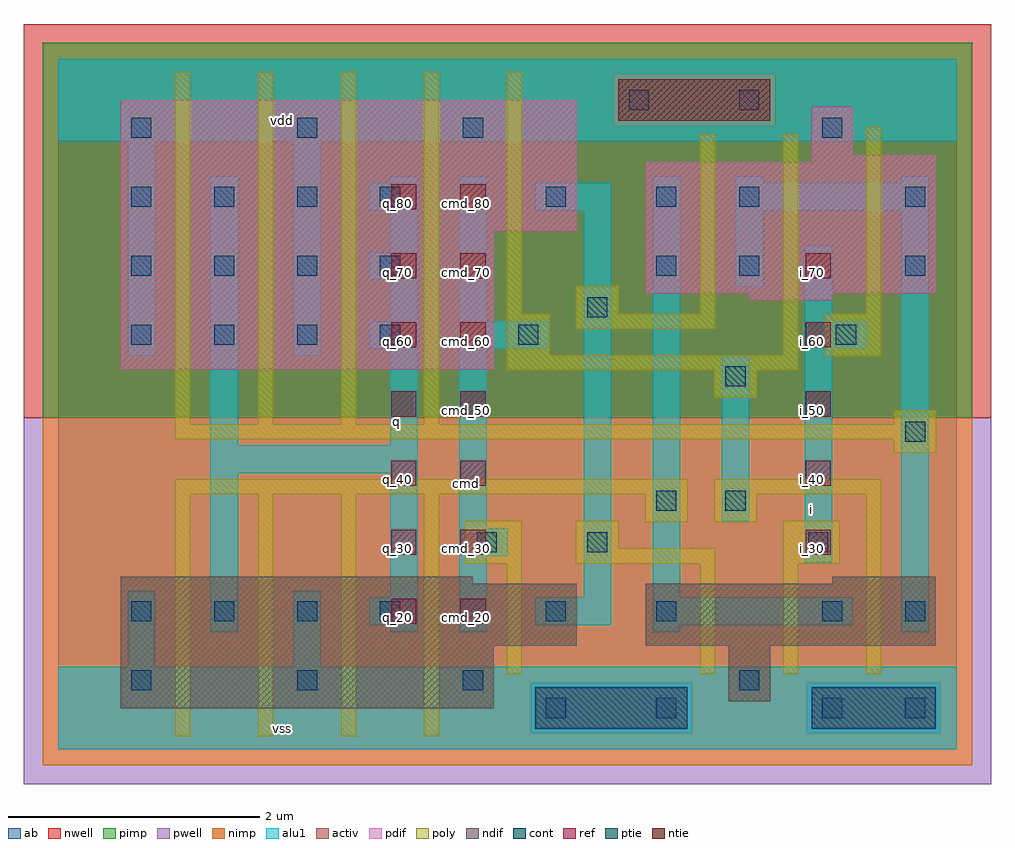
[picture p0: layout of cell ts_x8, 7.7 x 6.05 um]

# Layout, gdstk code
import gdstk
lib = gdstk.Library(unit=1e-6, precision=2.5e-09)
def R(c, l, rs):  # rectangles x0, y0, x1, y1
    for r in rs: c.add(gdstk.rectangle(r[:2], r[2:], *l))
def A(c, l, x, y, w, h, nx, ny, dx, dy):  # array of equal rectangles
    R(c, l, [(x+i*dx, y+j*dy, x+i*dx+w, y+j*dy+h) for i in range(nx) for j in range(ny)])
ndif = (3, 0)
pdif = (4, 0)
ntie = (5, 0)
ptie = (6, 0)
ref = (24, 0)
cont = (25, 0)
pwell = (41, 0)
nwell = (42, 0)
activ = (43, 0)
pimp = (44, 0)
nimp = (45, 0)
poly = (46, 0)
alu1 = (49, 0)
ab = (63, 0)

ts_x8 = lib.new_cell('ts_x8')
R(ts_x8, ndif, [(0.495,0.33,3.465,0.825), (5.335,0.385,5.665,0.825), (0.495,0.825,4.125,1.32), (4.675,0.825,6.985,1.32), (0.495,1.32,3.3,1.375), (6.16,1.32,6.985,1.375)])
R(ts_x8, pdif, [(0.495,3.025,3.465,4.125), (5.5,3.575,6.16,3.63), (4.675,3.63,6.985,4.675), (0.495,4.125,4.125,5.17), (5.995,4.675,6.985,4.73), (5.995,4.73,6.325,5.115)])
R(ts_x8, ntie, [(4.455,5.005,5.665,5.335)])
R(ts_x8, ptie, [(3.795,0.165,5.005,0.495), (5.995,0.165,6.985,0.495)])
A(ts_x8, ref, 2.65, 1, 0.2, 0.2, 1, 7, 0, 0.55)
A(ts_x8, ref, 3.2, 1, 0.2, 0.2, 1, 7, 0, 0.55)
A(ts_x8, ref, 5.95, 1.55, 0.2, 0.2, 1, 5, 0, 0.55)
A(ts_x8, cont, 0.58, 0.47, 0.16, 0.16, 3, 2, 1.32, 4.4)
A(ts_x8, cont, 0.58, 1.02, 0.16, 0.16, 4, 2, 0.66, 2.2)
A(ts_x8, cont, 0.58, 3.77, 0.16, 0.16, 4, 2, 0.66, 0.55)
R(ts_x8, cont, [(3.88,0.25,4.04,0.41), (4.76,0.25,4.92,0.41), (6.08,0.25,6.24,0.41), (6.74,0.25,6.9,0.41), (5.42,0.47,5.58,0.63), (3.88,1.02,4.04,1.18), (4.76,1.02,4.92,1.18), (6.08,1.02,6.24,1.18), (6.74,1.02,6.9,1.18), (3.33,1.57,3.49,1.73), (4.21,1.57,4.37,1.73), (5.97,1.57,6.13,1.73), (4.76,1.9,4.92,2.06), (5.31,1.9,5.47,2.06), (6.74,2.45,6.9,2.61), (5.31,2.89,5.47,3.05), (3.66,3.22,3.82,3.38), (6.19,3.22,6.35,3.38), (4.21,3.44,4.37,3.6), (4.76,3.77,4.92,3.93), (5.42,3.77,5.58,3.93), (6.74,3.77,6.9,3.93), (3.88,4.32,4.04,4.48), (4.76,4.32,4.92,4.48), (5.42,4.32,5.58,4.48), (6.74,4.32,6.9,4.48), (6.08,4.87,6.24,5.03), (4.54,5.09,4.7,5.25), (5.42,5.09,5.58,5.25)])
R(ts_x8, pwell, [(-0.275,-0.275,7.425,2.64)])
R(ts_x8, nwell, [(-0.275,2.64,7.425,5.775)])
R(ts_x8, activ, [(3.795,0.165,5.005,0.495), (5.995,0.165,6.985,0.495), (0.495,0.33,3.465,0.825), (5.335,0.385,5.665,0.825), (0.495,0.825,4.125,1.32), (4.675,0.825,6.985,1.32), (0.495,1.32,3.3,1.375), (6.16,1.32,6.985,1.375), (0.495,3.025,3.465,4.125), (5.5,3.575,6.16,3.63), (4.675,3.63,6.985,4.675), (0.495,4.125,4.125,5.17), (5.995,4.675,6.985,4.73), (5.995,4.73,6.325,5.115), (4.455,5.005,5.665,5.335)])
R(ts_x8, pimp, [(3.755,0.125,5.045,0.535), (5.955,0.125,7.025,0.535), (-0.125,2.64,7.275,4.965), (-0.125,4.965,4.415,5.375), (5.705,4.965,7.275,5.375), (-0.125,5.375,7.275,5.625)])
R(ts_x8, nimp, [(-0.125,-0.125,7.275,0.125), (-0.125,0.125,3.755,0.535), (5.045,0.125,5.955,0.535), (7.025,0.125,7.275,0.535), (-0.125,0.535,7.275,2.64), (4.415,4.965,5.705,5.375)])
A(ts_x8, poly, 0.93, 0.105, 0.12, 1.925, 4, 1, 0.66, 0)
A(ts_x8, poly, 0.93, 2.59, 0.12, 2.805, 4, 1, 0.66, 0)
R(ts_x8, poly, [(3.57,0.6,3.69,1.48), (5.11,0.6,5.23,1.48), (5.77,0.6,5.89,1.48), (6.43,0.6,6.55,2.03), (3.24,1.48,3.69,1.82), (4.12,1.48,5.23,1.6), (5.77,1.48,6.22,1.82), (4.12,1.6,4.46,1.82), (4.67,1.81,5.01,2.03), (5.22,1.81,5.56,2.03), (0.93,2.03,5.01,2.15), (5.22,2.03,6.55,2.15), (6.65,2.36,6.99,2.47), (0.93,2.47,6.99,2.59), (6.65,2.59,6.99,2.7), (5.22,2.8,5.56,3.02), (3.57,3.02,5.89,3.14), (6.1,3.13,6.55,3.47), (3.57,3.14,3.91,3.47), (5.77,3.14,5.89,4.9), (4.12,3.35,5.23,3.47), (3.57,3.47,3.69,5.395), (4.12,3.47,4.46,3.69), (5.11,3.47,5.23,4.9), (6.43,3.47,6.55,4.955)])
A(ts_x8, alu1, 2.475, 3.19, 0.385, 0.22, 1, 3, 0, 0.55)
R(ts_x8, alu1, [(0,0,7.15,0.66), (0.55,0.66,0.77,1.265), (1.87,0.66,2.09,1.265), (1.21,0.935,1.43,2.2), (2.64,0.935,2.86,0.99), (3.19,0.935,3.41,1.54), (4.73,0.935,4.95,0.99), (6.71,0.935,6.93,4.29), (2.475,0.99,2.86,1.21), (3.795,0.99,4.4,1.21), (4.73,0.99,6.325,1.21), (2.64,1.21,2.86,2.2), (4.18,1.21,4.4,4.29), (4.73,1.21,4.95,4.565), (5.94,1.485,6.16,3.19), (3.19,1.54,3.575,1.76), (3.19,1.76,3.41,3.19), (5.28,1.815,5.5,3.135), (1.21,2.2,2.86,2.42), (1.21,2.42,1.43,4.565), (2.64,2.42,2.86,3.19), (0.55,3.135,0.77,4.84), (1.87,3.135,2.09,4.84), (3.19,3.19,3.905,3.41), (5.94,3.19,6.435,3.41), (2.64,3.41,2.86,3.74), (3.19,3.41,3.41,4.565), (5.94,3.41,6.16,4.015), (5.39,3.685,5.61,4.29), (2.64,3.96,2.86,4.29), (3.795,4.29,4.4,4.51), (5.39,4.29,6.93,4.51), (2.64,4.51,2.86,4.565), (5.39,4.51,5.61,4.565), (6.71,4.51,6.93,4.565), (0,4.84,7.15,5.5)])
R(ts_x8, ab, [(0,0,7.15,5.5)])
ts_x8.add(gdstk.Label('vss', (1.7875,0.165), layer=49, texttype=0))
ts_x8.add(gdstk.Label('i', (5.995,1.91), layer=49, texttype=0))
ts_x8.add(gdstk.Label('cmd', (3.245,2.1175), layer=49, texttype=0))
ts_x8.add(gdstk.Label('q', (2.695,2.6125), layer=49, texttype=0))
ts_x8.add(gdstk.Label('vdd', (1.7875,5.005), layer=49, texttype=0))
ts_x8.add(gdstk.Label('q_40', (2.7,2.15), layer=24, texttype=0))
ts_x8.add(gdstk.Label('q_30', (2.7,1.6), layer=24, texttype=0))
ts_x8.add(gdstk.Label('q_20', (2.7,1.05), layer=24, texttype=0))
ts_x8.add(gdstk.Label('i_70', (6,3.8), layer=24, texttype=0))
ts_x8.add(gdstk.Label('i_60', (6,3.25), layer=24, texttype=0))
ts_x8.add(gdstk.Label('i_50', (6,2.7), layer=24, texttype=0))
ts_x8.add(gdstk.Label('i_40', (6,2.15), layer=24, texttype=0))
ts_x8.add(gdstk.Label('q_80', (2.7,4.35), layer=24, texttype=0))
ts_x8.add(gdstk.Label('q_70', (2.7,3.8), layer=24, texttype=0))
ts_x8.add(gdstk.Label('q_60', (2.7,3.25), layer=24, texttype=0))
ts_x8.add(gdstk.Label('q_50', (2.7,2.7), layer=24, texttype=0))
ts_x8.add(gdstk.Label('cmd_50', (3.25,2.7), layer=24, texttype=0))
ts_x8.add(gdstk.Label('cmd_40', (3.25,2.15), layer=24, texttype=0))
ts_x8.add(gdstk.Label('cmd_30', (3.25,1.6), layer=24, texttype=0))
ts_x8.add(gdstk.Label('cmd_80', (3.25,4.35), layer=24, texttype=0))
ts_x8.add(gdstk.Label('cmd_70', (3.25,3.8), layer=24, texttype=0))
ts_x8.add(gdstk.Label('cmd_60', (3.25,3.25), layer=24, texttype=0))
ts_x8.add(gdstk.Label('cmd_20', (3.25,1.05), layer=24, texttype=0))
ts_x8.add(gdstk.Label('i_30', (6,1.6), layer=24, texttype=0))

lib.write_gds('ts_x8.gds')
